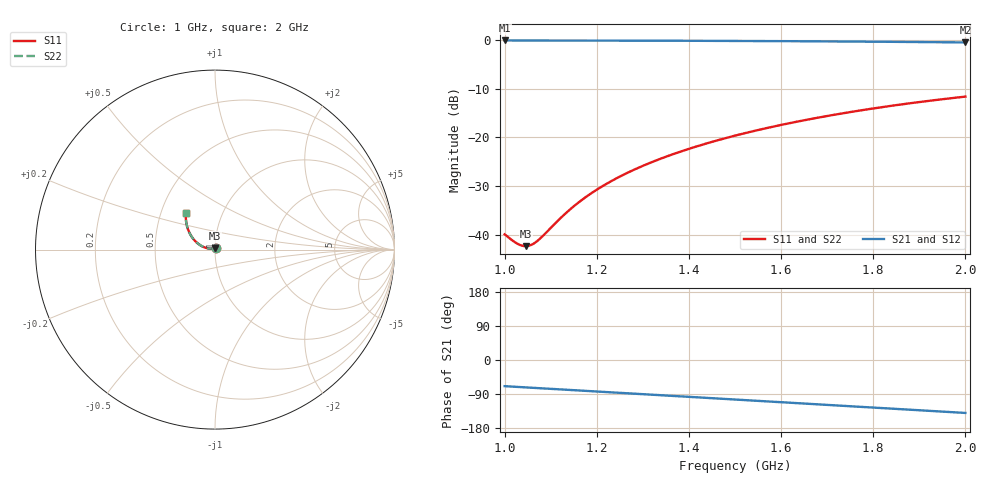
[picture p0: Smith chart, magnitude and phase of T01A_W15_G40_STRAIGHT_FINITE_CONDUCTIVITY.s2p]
! T01-A finite-conductivity nominal export
# GHZ S RI R 50
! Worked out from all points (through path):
!   1001 points, 1 GHz to 2 GHz, reference 50 ohm
!   highest |S21| = -0.11 dB at 1 GHz (marker M1); lowest = -0.5 dB at 2 GHz (marker M2)
!   group delay of S21, straight-line fit = 197 ps
!   lowest |S11| = -42.4 dB at 1.046 GHz (marker M3), VSWR 1.02, Z = 49.8 + j0.731 ohm
!   |S11| at or under -10 dB: start of sweep to end of sweep
!   |S22| runs from -42.3 to -11.6 dB; largest |S21 - S12| = 4.5e-06
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1  0.00396 0.00927  0.3529 -0.9224  0.3529 -0.9224  0.00393 0.00934
1.028  0.000437 0.00805  0.3211 -0.9336  0.3211 -0.9336  0.000406 0.00812
1.037  -0.000771 0.00769  0.3108 -0.937  0.3108 -0.937  -0.000802 0.00776
1.046  -0.00201 0.00734  0.3005 -0.9402  0.3005 -0.9402  -0.00204 0.00742
1.058  -0.00373 0.00692  0.2867 -0.9444  0.2867 -0.9444  -0.00376 0.007
1.072  -0.0058 0.00647  0.2704 -0.9489  0.2704 -0.9489  -0.00583 0.00655
1.084  -0.00765 0.00612  0.2565 -0.9527  0.2565 -0.9527  -0.00768 0.00621
1.13  -0.0153 0.00522  0.2024 -0.965  0.2024 -0.965  -0.0153 0.00531
1.148  -0.0185 0.00507  0.181 -0.9689  0.181 -0.9689  -0.0185 0.00516
1.167  -0.022 0.00504  0.1583 -0.9726  0.1583 -0.9726  -0.0221 0.00513
1.202  -0.0289 0.00539  0.1164 -0.9779  0.1163 -0.9779  -0.0289 0.00548
1.241  -0.037 0.00644  0.0693 -0.9817  0.0693 -0.9817  -0.037 0.00654
1.285  -0.0466 0.00856  0.016 -0.9831  0.016 -0.9831  -0.0466 0.00866
1.334  -0.0579 0.0122  -0.0434 -0.9811  -0.0434 -0.981  -0.0579 0.0123
1.412  -0.0765 0.021  -0.1375 -0.97  -0.1375 -0.97  -0.0765 0.0211
1.5  -0.0976 0.0357  -0.2415 -0.9461  -0.2415 -0.9461  -0.0976 0.0358
1.58  -0.116 0.0536  -0.333 -0.9141  -0.333 -0.9141  -0.116 0.0537
1.667  -0.1339 0.078  -0.4275 -0.8686  -0.4275 -0.8686  -0.1339 0.0781
1.748  -0.1475 0.1048  -0.5097 -0.8169  -0.5097 -0.8169  -0.1474 0.1049
1.834  -0.1576 0.137  -0.5897 -0.7533  -0.5897 -0.7533  -0.1575 0.1371
1.922  -0.1624 0.1729  -0.6626 -0.6801  -0.6626 -0.6801  -0.1623 0.173
2  -0.1614 0.206  -0.7189 -0.6096  -0.7189 -0.6096  -0.1614 0.2061
